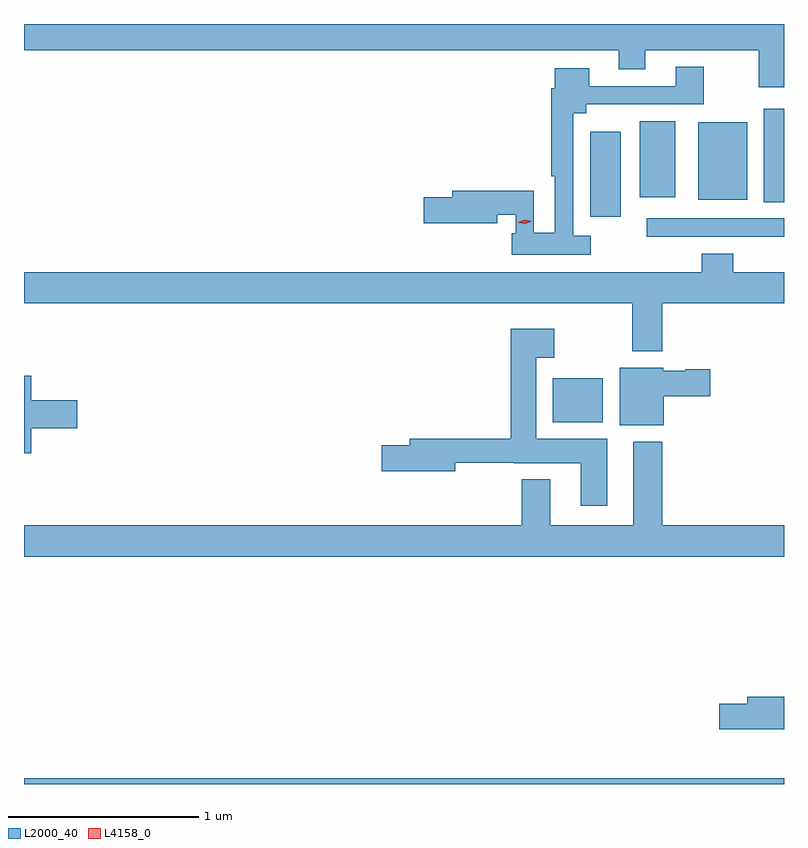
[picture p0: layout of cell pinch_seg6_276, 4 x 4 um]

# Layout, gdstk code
import gdstk
lib = gdstk.Library(unit=1e-6, precision=1e-09)
def R(c, l, rs):  # rectangles x0, y0, x1, y1
    for r in rs: c.add(gdstk.rectangle(r[:2], r[2:], *l))
def P(c, l, *ps):  # polygons
    for p in ps: c.add(gdstk.Polygon(p, *l))
L2000_40 = (2000, 40)
L4158_0 = (4158, 0)

pinch_seg6_276 = lib.new_cell('pinch_seg6_276')
R(pinch_seg6_276, L2000_40, [(873.41,984.767,877.41,984.796), (876.194,986.672,876.457,986.902), (876.687,987.648,877.41,987.744), (876.389,987.753,876.55,988.201), (877.304,987.829,877.41,988.321), (876.959,987.842,877.216,988.249), (876.65,987.854,876.838,988.255)])
P(pinch_seg6_276, L2000_40, [(877.41,988.767),(873.41,988.767),(873.41,988.628),(876.539,988.628),(876.539,988.529),(876.679,988.529),(876.679,988.628),(877.276,988.628),(877.276,988.434),(877.41,988.434)],
  [(876.394,987.652),(876.3,987.652),(876.3,988.298),(876.37,988.298),(876.37,988.344),(876.987,988.344),(876.987,988.543),(876.839,988.543),(876.839,988.44),(876.385,988.44),(876.385,988.534),(876.203,988.534),(876.203,988.43),(876.184,988.43),(876.184,987.967),(876.204,987.967),(876.204,987.668),(876.093,987.668),(876.093,987.89),(875.663,987.89),(875.663,987.854),(875.514,987.854),(875.514,987.719),(875.902,987.719),(875.902,987.762),(875.997,987.762),(875.997,987.666),(875.977,987.666),(875.977,987.552),(876.394,987.552)],
  [(876.77,987.296),(877.41,987.296),(877.41,987.46),(877.142,987.46),(877.142,987.559),(876.977,987.559),(876.977,987.46),(873.41,987.46),(873.41,987.296),(876.61,987.296),(876.61,987.044),(876.77,987.044)],
  [(876.481,986.584),(876.106,986.584),(876.106,987.011),(876.202,987.011),(876.202,987.163),(875.972,987.163),(875.972,986.585),(875.441,986.585),(875.441,986.549),(875.292,986.549),(875.292,986.414),(875.68,986.414),(875.68,986.457),(875.988,986.457),(875.988,986.456),(876.341,986.456),(876.341,986.232),(876.481,986.232)],
  [(876.778,986.807),(877.021,986.807),(877.021,986.949),(876.891,986.949),(876.891,986.941),(876.774,986.941),(876.774,986.959),(876.545,986.959),(876.545,986.654),(876.778,986.654)],
  [(873.448,986.639),(873.691,986.639),(873.691,986.786),(873.448,986.786),(873.448,986.917),(873.41,986.917),(873.41,986.507),(873.448,986.507)],
  [(877.41,986.128),(876.77,986.128),(876.77,986.569),(876.617,986.569),(876.617,986.128),(876.181,986.128),(876.181,986.371),(876.029,986.371),(876.029,986.128),(873.41,986.128),(873.41,985.964),(877.41,985.964)],
  [(877.41,985.226),(877.217,985.226),(877.217,985.19),(877.068,985.19),(877.068,985.055),(877.41,985.055)])
P(pinch_seg6_276, L4158_0, [(876.047,987.716),(876.011,987.722),(876.01,987.722),(876.011,987.723),(876.045,987.736),(876.082,987.73),(876.082,987.73),(876.082,987.73)])

lib.write_gds('pinch_seg6_276.gds')
